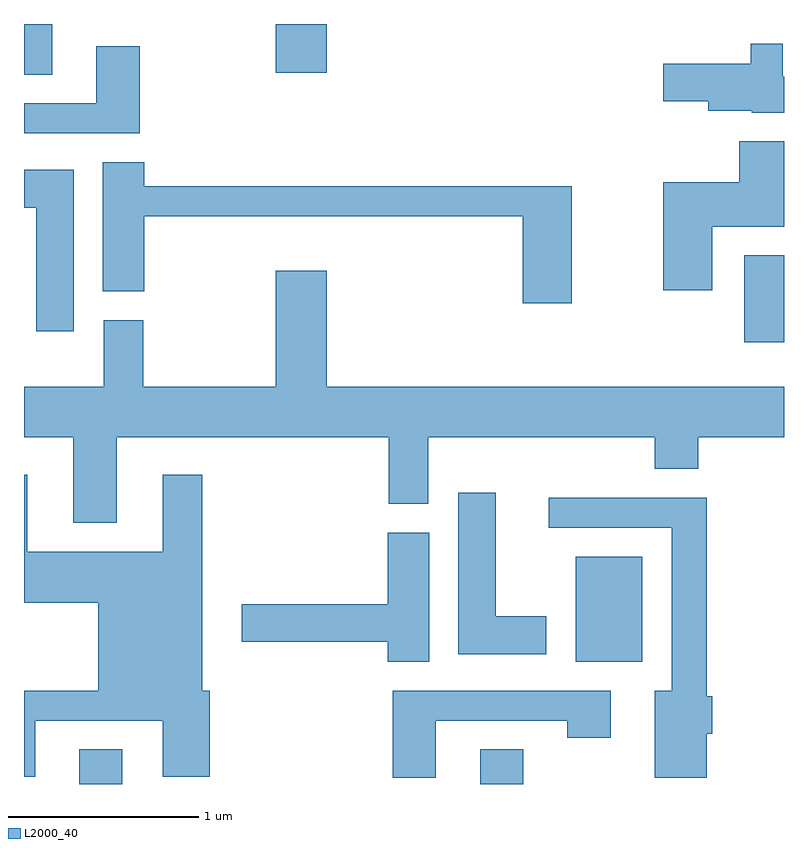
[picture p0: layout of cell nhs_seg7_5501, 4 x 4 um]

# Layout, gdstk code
import gdstk
lib = gdstk.Library(unit=1e-6, precision=1e-09)
def R(c, l, rs):  # rectangles x0, y0, x1, y1
    for r in rs: c.add(gdstk.rectangle(r[:2], r[2:], *l))
def P(c, l, *ps):  # polygons
    for p in ps: c.add(gdstk.Polygon(p, *l))
L2000_40 = (2000, 40)

nhs_seg7_5501 = lib.new_cell('nhs_seg7_5501')
R(nhs_seg7_5501, L2000_40, [(353.901,1730.252,354.129,1730.434), (356.011,1730.252,356.239,1730.434), (356.516,1730.896,356.864,1731.449), (357.401,1732.576,357.611,1733.034), (353.611,1733.986,353.759,1734.252), (354.936,1733.996,355.204,1734.252)])
P(nhs_seg7_5501, L2000_40, [(357.611,1733.974),(357.604,1733.974),(357.604,1734.148),(357.436,1734.148),(357.436,1734.044),(356.976,1734.044),(356.976,1733.846),(357.211,1733.846),(357.211,1733.796),(357.44,1733.796),(357.44,1733.786),(357.611,1733.786)],
  [(354.219,1734.134),(353.991,1734.134),(353.991,1733.834),(353.611,1733.834),(353.611,1733.676),(354.219,1733.676)],
  [(357.234,1733.186),(357.611,1733.186),(357.611,1733.634),(357.376,1733.634),(357.376,1733.419),(356.976,1733.419),(356.976,1732.851),(357.234,1732.851)],
  [(356.494,1733.399),(354.244,1733.399),(354.244,1733.524),(354.026,1733.524),(354.026,1732.846),(354.244,1732.846),(354.244,1733.241),(356.236,1733.241),(356.236,1732.781),(356.494,1732.781)],
  [(353.874,1733.484),(353.611,1733.484),(353.611,1733.286),(353.676,1733.286),(353.676,1732.636),(353.874,1732.636)],
  [(354.099,1732.076),(355.531,1732.076),(355.531,1731.726),(355.739,1731.726),(355.739,1732.076),(356.931,1732.076),(356.931,1731.911),(357.159,1731.911),(357.159,1732.076),(357.611,1732.076),(357.611,1732.344),(355.204,1732.344),(355.204,1732.954),(354.936,1732.954),(354.936,1732.344),(354.239,1732.344),(354.239,1732.694),(354.031,1732.694),(354.031,1732.344),(353.611,1732.344),(353.611,1732.076),(353.871,1732.076),(353.871,1731.626),(354.099,1731.626)],
  [(353.669,1730.586),(354.341,1730.586),(354.341,1730.291),(354.589,1730.291),(354.589,1730.744),(354.549,1730.744),(354.549,1731.879),(354.341,1731.879),(354.341,1731.474),(353.629,1731.474),(353.629,1731.879),(353.611,1731.879),(353.611,1731.206),(354.001,1731.206),(354.001,1730.744),(353.611,1730.744),(353.611,1730.291),(353.669,1730.291)],
  [(356.359,1731.134),(356.094,1731.134),(356.094,1731.784),(355.896,1731.784),(355.896,1730.936),(356.359,1730.936)],
  [(357.204,1730.516),(357.234,1730.516),(357.234,1730.714),(357.204,1730.714),(357.204,1731.759),(356.373,1731.759),(356.373,1731.601),(357.021,1731.601),(357.021,1730.744),(356.931,1730.744),(356.931,1730.286),(357.204,1730.286)],
  [(355.744,1731.574),(355.526,1731.574),(355.526,1731.199),(354.756,1731.199),(354.756,1731.001),(355.526,1731.001),(355.526,1730.896),(355.744,1730.896)],
  [(355.779,1730.586),(356.471,1730.586),(356.471,1730.496),(356.699,1730.496),(356.699,1730.744),(355.551,1730.744),(355.551,1730.286),(355.779,1730.286)])

lib.write_gds('nhs_seg7_5501.gds')
